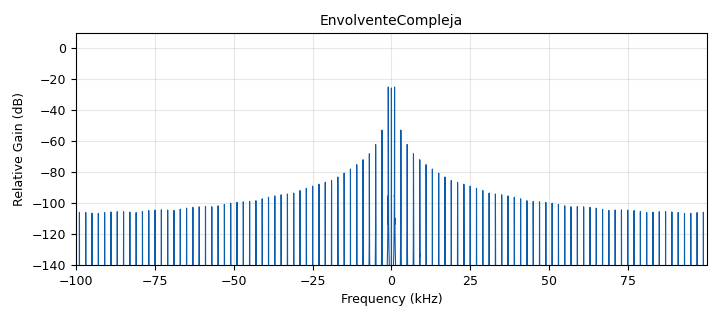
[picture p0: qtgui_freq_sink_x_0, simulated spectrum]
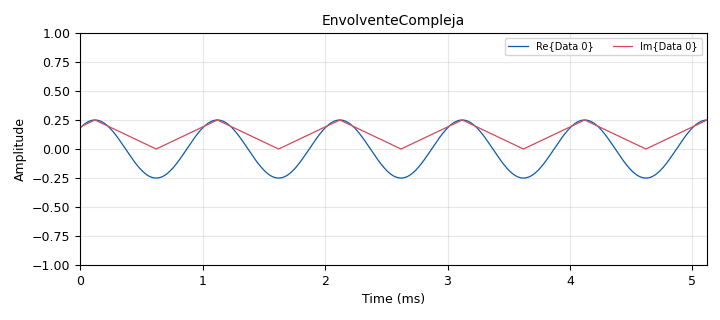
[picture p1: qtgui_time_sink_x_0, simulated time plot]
options:
  parameters:
    author: GRUPO_02_G1C
    copyright: UIS
    generate_options: qt_gui
    id: ModuladorAmplitudGNURADIO
    output_language: python
    title: Modulador_AM_GNURADIO
  states: {}

blocks:
- name: Ac
  id: variable_qtgui_range
  parameters:
    label: amplitud portadora
    start: '-5'
    step: '1'
    stop: '5'
    value: '0.25'
  states: {}
- name: Am
  id: variable_qtgui_range
  parameters:
    label: amplitud mensajera(Am)
    rangeType: int
    start: '0'
    step: '1'
    stop: '1'
    value: '1'
  states: {}
- name: B
  id: variable_qtgui_range
  parameters:
    label: cambio de bandas
    start: '-1'
    step: '2'
    stop: '1'
    value: '1'
  states: {}
- name: Fc
  id: variable_qtgui_range
  parameters:
    label: frecuencia portadora
    start: 50e6
    step: 1e6
    stop: 2.2e9
    value: 500e6
  states: {}
- name: Fm
  id: variable_qtgui_range
  parameters:
    label: frecuencia mensaje
    start: '0'
    step: '100'
    stop: '200000000'
    value: '1000'
  states: {}
- name: Fm1
  id: variable_qtgui_range
  parameters:
    label: Frecuencia mensaje 1
    start: '0'
    step: '100'
    stop: '1000000'
    value: '1000'
  states: {}
- name: Fm2
  id: variable_qtgui_range
  parameters:
    label: Frecuencia mensaje 2
    start: '0'
    step: '100'
    stop: '1000000'
    value: '1000'
  states: {}
- name: GTX
  id: variable_qtgui_range
  parameters:
    label: gananciaTX
    start: '0'
    step: '1'
    stop: '31'
    value: '0'
  states: {}
- name: audio_rate
  id: variable
  parameters:
    value: '48000'
  states: {}
- name: ka
  id: variable_qtgui_range
  parameters:
    label: coeficiente de sensibilidad Am(Ka)
    start: '1'
    step: '5'
    stop: '50'
    value: '1'
  states: {}
- name: samp_rate
  id: variable_qtgui_range
  parameters:
    label: frecuencia de muestreo
    rangeType: int
    start: '1000'
    step: '1000'
    stop: '300000'
    value: '200000'
  states: {}
- name: samp_rate
  id: variable
  parameters:
    value: 12.5e6/64
  states: {state: disabled}
- name: variable_qtgui_range_0
  id: variable_qtgui_range
  parameters:
    start: '0'
    step: '1'
    stop: '100'
    value: '50'
  states: {state: disabled}
- name: G1C_grupo_02_0
  id: G1C_grupo_02
  parameters:
    Ac: Ac
    Ka: ka
  states: {state: disabled}
- name: analog_sig_source_x_0
  id: analog_sig_source_x
  parameters:
    amp: Am
    freq: Fm1
    offset: '0'
    phase: '0'
    samp_rate: samp_rate
    type: float
    waveform: analog.GR_COS_WAVE
  states: {}
- name: analog_sig_source_x_1
  id: analog_sig_source_x
  parameters:
    amp: '1'
    freq: Fm2
    offset: '0'
    phase: '0'
    samp_rate: samp_rate
    type: float
    waveform: analog.GR_TRI_WAVE
  states: {}
- name: blocks_float_to_complex_0
  id: blocks_float_to_complex
  parameters: {}
  states: {}
- name: blocks_multiply_const_vxx_0
  id: blocks_multiply_const_vxx
  parameters:
    const: Ac
    type: complex
  states: {}
- name: qtgui_freq_sink_x_0
  id: qtgui_freq_sink_x
  parameters:
    bw: samp_rate
    fc: '0'
    fftsize: '16384'
    name: '"EnvolventeCompleja"'
    type: complex
    wintype: window.WIN_BLACKMAN
  states: {}
- name: qtgui_time_sink_x_0
  id: qtgui_time_sink_x
  parameters:
    name: '"EnvolventeCompleja"'
    size: '1024'
    srate: samp_rate
    type: complex
  states: {}
- name: uhd_usrp_sink_0
  id: uhd_usrp_sink
  parameters:
    ant0: '"TX/RX"'
    center_freq0: Fc
    gain0: GTX
    samp_rate: samp_rate
    sync: pc_clock
    type: fc32
  states: {}

connections:
- [G1C_grupo_02_0, '0', qtgui_time_sink_x_0, '0']
- [G1C_grupo_02_0, '0', uhd_usrp_sink_0, '0']
- [analog_sig_source_x_0, '0', G1C_grupo_02_0, '0']
- [analog_sig_source_x_0, '0', blocks_float_to_complex_0, '0']
- [analog_sig_source_x_1, '0', G1C_grupo_02_0, '0']
- [analog_sig_source_x_1, '0', blocks_float_to_complex_0, '1']
- [blocks_float_to_complex_0, '0', blocks_multiply_const_vxx_0, '0']
- [blocks_multiply_const_vxx_0, '0', qtgui_freq_sink_x_0, '0']
- [blocks_multiply_const_vxx_0, '0', qtgui_time_sink_x_0, '0']
- [blocks_multiply_const_vxx_0, '0', uhd_usrp_sink_0, '0']

metadata:
  file_format: 1
  grc_version: 3.10.7.0
